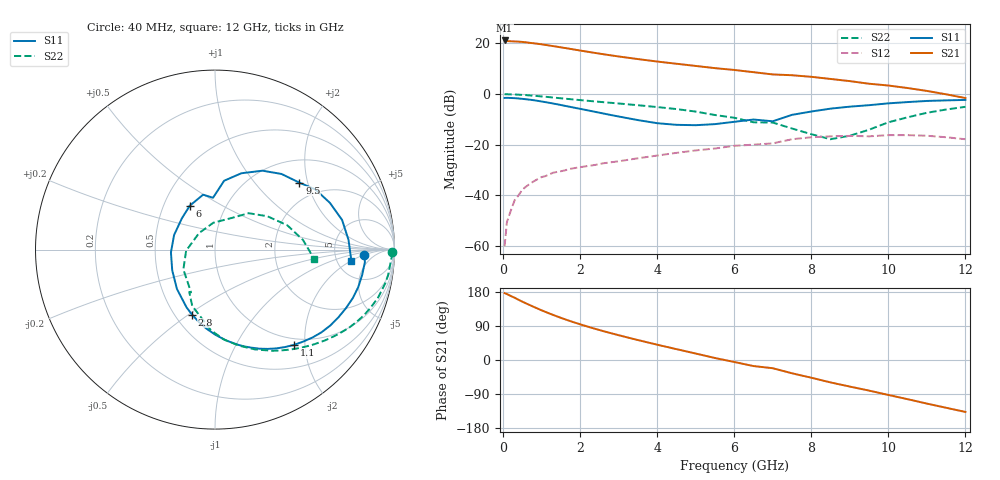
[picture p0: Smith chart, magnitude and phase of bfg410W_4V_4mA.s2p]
! Filename: 44bfg410.001
! BFG410W Field B1
! V1=8.442E-001V,V2=4.000E+000V, I1=4.867E-005A, I2=4.000E-003A
# GHz  S  MA  R 50
!  S11  S21  S12  S22
!Freq(GHz)  Mag  Ang  Mag  Ang  Mag  Ang  Mag  Ang
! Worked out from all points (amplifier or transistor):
!   44 points, 40 MHz to 12 GHz, reference 50 ohm
!   highest |S21| = 21.1 dB at 40 MHz (marker M1)
!   |S21| within 3 dB of that: start of sweep to 1.617 GHz
!   unconditionally stable (mu >= 1): start of sweep to 40.27 MHz; 2.78 GHz to end of sweep
!   at 700 MHz: K = 0.31, MSG = 27.8 dB, |S12| = -35.4 dB
!   at 2.4 GHz: K = 0.89, MSG = 22.0 dB, |S12| = -28.0 dB
!   at 12 GHz: K = 1.64, MAG = 3.4 dB, |S12| = -17.9 dB
!   S11 on the Smith chart (normalised r, x): 40 MHz: 11, -2; 1.1 GHz: 0.88, -1.78; 2.8 GHz: 0.61, -0.52; 6 GHz: 0.68, +0.36; 9.5 GHz: 1.52, +1.78; 12 GHz: 6.81, -1.98
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0.04  0.833 -2.0  11.31 176.5  0.001 43.7  0.985 -0.9
0.1  0.838 -4.8  11.03 174.0  0.003 74.9  0.985 -2.6
0.2  0.832 -9.7  10.9 168.9  0.005 76.3  0.978 -5.7
0.4  0.814 -19.4  10.72 159.0  0.01 73.9  0.967 -11.2
0.6  0.784 -28.9  10.37 149.2  0.015 69.1  0.947 -16.4
0.9  0.731 -42.1  9.724 135.5  0.021 62.6  0.907 -23.8
1.1  0.689 -50.4  9.242 127.0  0.024 58.6  0.878 -28.1
1.3  0.647 -58.3  8.75 118.9  0.028 55.2  0.848 -32.3
1.6  0.583 -69.6  8.047 107.7  0.031 50.8  0.806 -37.9
1.9  0.526 -79.8  7.376 97.5  0.035 47.4  0.768 -43.1
2.2  0.474 -89.8  6.768 88.0  0.038 44.6  0.732 -48.0
2.8  0.384 -109.5  5.751 70.8  0.045 40.3  0.668 -57.3
3.5  0.305 -134.1  4.857 52.6  0.054 35.7  0.599 -68.2
4.5  0.246 -176.3  3.931 28.7  0.069 27.0  0.503 -84.4
5.5  0.254 136.5  3.22 5.3  0.084 14.0  0.384 -101.9
6  0.282 119.9  2.966 -5.2  0.095 8.8  0.339 -112.0
6.5  0.313 102.2  2.682 -16.0  0.1 2.2  0.276 -121.3
8  0.45 70.9  2.172 -46.7  0.14 -17.3  0.161 -177.8
8.5  0.513 59.0  1.972 -59.2  0.146 -30.0  0.128 133.9
9.5  0.6 38.5  1.588 -80.8  0.146 -50.2  0.197 62.9
10.5  0.691 22.2  1.306 -103.4  0.154 -71.2  0.346 32.5
12  0.762 -4.6  0.829 -137.0  0.128 -111.0  0.557 -5.7
